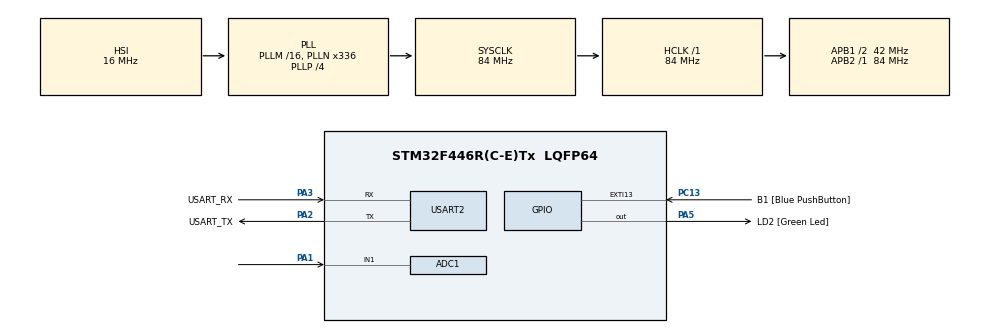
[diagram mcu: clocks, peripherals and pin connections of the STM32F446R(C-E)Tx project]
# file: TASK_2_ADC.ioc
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ADC1.Channel-0\#ChannelRegularConversion=ADC_CHANNEL_1
ADC1.NbrOfConversionFlag=1
ADC1.Rank-0\#ChannelRegularConversion=1
ADC1.SamplingTime-0\#ChannelRegularConversion=ADC_SAMPLETIME_3CYCLES
ADC1.master=1
Mcu.Family=STM32F4
Mcu.Name=STM32F446R(C-E)Tx
Mcu.Package=LQFP64
NVIC.PriorityGroup=NVIC_PRIORITYGROUP_0
PA1.Signal=ADCx_IN1
PA13.GPIO_Label=TMS
PA13.Mode=Serial_Wire
PA13.Signal=SYS_JTMS-SWDIO
PA14.GPIO_Label=TCK
PA14.Mode=Serial_Wire
PA14.Signal=SYS_JTCK-SWCLK
PA2.GPIO_Label=USART_TX
PA2.Mode=Asynchronous
PA2.Signal=USART2_TX
PA3.GPIO_Label=USART_RX
PA3.Mode=Asynchronous
PA3.Signal=USART2_RX
PA5.GPIO_Label=LD2 [Green Led]
PA5.Signal=GPIO_Output
PB3.GPIO_Label=SWO
PB3.Signal=SYS_JTDO-SWO
PC13.GPIO_Label=B1 [Blue PushButton]
PC13.GPIO_ModeDefaultEXTI=GPIO_MODE_IT_FALLING
PC13.Signal=GPXTI13
PC14-OSC32_IN.Mode=LSE-External-Oscillator
PC14-OSC32_IN.Signal=RCC_OSC32_IN
PC15-OSC32_OUT.Mode=LSE-External-Oscillator
PC15-OSC32_OUT.Signal=RCC_OSC32_OUT
PH0-OSC_IN.Mode=HSE-External-Oscillator
PH0-OSC_IN.Signal=RCC_OSC_IN
PH1-OSC_OUT.Mode=HSE-External-Oscillator
PH1-OSC_OUT.Signal=RCC_OSC_OUT
ProjectManager.HeapSize=0x200
ProjectManager.StackSize=0x400
ProjectManager.TargetToolchain=STM32CubeIDE
RCC.48MHZClocksFreq_Value=84000000
RCC.AHBFreq_Value=84000000
RCC.APB1CLKDivider=RCC_HCLK_DIV2
RCC.APB1Freq_Value=42000000
RCC.APB1TimFreq_Value=84000000
RCC.APB2Freq_Value=84000000
RCC.APB2TimFreq_Value=84000000
RCC.CortexFreq_Value=84000000
RCC.FLatency-AdvancedSettings=FLASH_LATENCY_2
RCC.HCLKFreq_Value=84000000
RCC.HSE_VALUE=8000000
RCC.HSI_VALUE=16000000
RCC.PLLN=336
RCC.PLLP=RCC_PLLP_DIV4
RCC.SYSCLKFreq_VALUE=84000000
RCC.SYSCLKSource=RCC_SYSCLKSOURCE_PLLCLK
RCC.USBFreq_Value=168000000
RCC.VCOOutputFreq_Value=336000000
SH.ADCx_IN1.0=ADC1_IN1,IN1
TIM2.Period=999
TIM2.Prescaler=8399
USART2.VirtualMode=VM_ASYNC
VP_TIM2_VS_ClockSourceINT.Mode=Internal
board=NUCLEO-F446RE

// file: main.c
/* USER CODE BEGIN Header */
/**
  ******************************************************************************
  * @file           : main.c
  * @brief          : ADC sampling @10 Hz (TIM2 tick), 10-sample moving average,
  *                   JSON streaming over USART2 @115200 baud
  ******************************************************************************
  * @attention
  *
  * Copyright (c) 2026 STMicroelectronics.
  * All rights reserved.
  *
  * This software is licensed under terms that can be found in the LICENSE file
  * in the root directory of this software component.
  * If no LICENSE file comes with this software, it is provided AS-IS.
  *
  ******************************************************************************
  */
/* USER CODE END Header */
#include "main.h"

/* USER CODE BEGIN Includes */
#include <string.h>
#include <stdio.h>
/* USER CODE END Includes */

/* USER CODE BEGIN PD */

/* Moving-average window size (number of samples). */
#define SAMPLE_COUNT          10U

/* Timeouts (ms). Finite values so a hung peripheral can never block forever. */
#define ADC_TIMEOUT_MS        10U
#define UART_TIMEOUT_MS       100U

/* TIM2 timing: timer clock = 84 MHz (APB1 = 42 MHz, x2 because APB1 prescaler
 * is /2). 84 MHz / (8399+1) = 10 kHz tick; 10 kHz / (999+1) = 10 Hz
 * -> one update event exactly every 100 ms. */
#define TIM2_PRESCALER        8399U
#define TIM2_PERIOD           999U

/* USER CODE END PD */

ADC_HandleTypeDef hadc1;

UART_HandleTypeDef huart2;

/* USER CODE BEGIN PV */

TIM_HandleTypeDef htim2;

/* Moving-average filter state */
static uint32_t adc_samples[SAMPLE_COUNT];  /* circular buffer of last N raw samples */
static uint32_t adc_sum         = 0U;       /* running sum of the samples in the buffer */
static uint8_t  sample_index    = 0U;       /* position of the oldest sample (next to overwrite) */
static uint8_t  samples_filled  = 0U;       /* how many valid samples are in the buffer (0..N) */
static uint32_t adc_average     = 0U;       /* latest filtered result */

/* Set by the TIM2 ISR every 100 ms, cleared by the main loop */
static volatile uint8_t sample_ready = 0U;

/* Diagnostics counters */
static volatile uint32_t missed_ticks = 0U; /* ticks that arrived before the previous one was handled */
static uint32_t adc_error_count       = 0U;
static uint32_t uart_error_count      = 0U;

/* USER CODE END PV */

void SystemClock_Config(void);
static void MX_GPIO_Init(void);
static void MX_ADC1_Init(void);
static void MX_USART2_UART_Init(void);
/* USER CODE BEGIN PFP */
static void MX_TIM2_Init(void);
static HAL_StatusTypeDef Read_ADC_And_Calculate_Average(void);
static void Send_Average_Over_UART(uint32_t average);
/* USER CODE END PFP */

int main(void)
{

  /* MCU Configuration--------------------------------------------------------*/

  /* Reset of all peripherals, Initializes the Flash interface and the Systick. */
  HAL_Init();

  /* Configure the system clock */
  SystemClock_Config();

  /* Initialize all configured peripherals */
  MX_GPIO_Init();
  MX_ADC1_Init();
  MX_USART2_UART_Init();
  /* USER CODE BEGIN 2 */
  MX_TIM2_Init();

  /* Start TIM2 in interrupt mode. From now on the update interrupt fires
   * exactly every 100 ms (10 Hz) and sets sample_ready. */
  if (HAL_TIM_Base_Start_IT(&htim2) != HAL_OK)
  {
    Error_Handler();
  }
  /* USER CODE END 2 */

  /* Infinite loop */
  while (1)
  {

    /* USER CODE BEGIN 3 */

    /* Sampling period is defined by the TIM2 hardware tick, NOT by software
     * delays, so conversion/printf/UART time does not cause drift. */
    if (sample_ready)
    {
      sample_ready = 0U;

      if (Read_ADC_And_Calculate_Average() == HAL_OK)
      {
        /* One transmission per 100 ms tick */
        Send_Average_Over_UART(adc_average);
      }
      else
      {
        /* ADC fault: count it and toggle LD2 as a visible indicator */
        adc_error_count++;
        HAL_GPIO_TogglePin(LD2_GPIO_Port, LD2_Pin);
      }
    }
  }
  /* USER CODE END 3 */
}

void SystemClock_Config(void)
{
  RCC_OscInitTypeDef RCC_OscInitStruct = {0};
  RCC_ClkInitTypeDef RCC_ClkInitStruct = {0};

  /** Configure the main internal regulator output voltage
  */
  __HAL_RCC_PWR_CLK_ENABLE();
  __HAL_PWR_VOLTAGESCALING_CONFIG(PWR_REGULATOR_VOLTAGE_SCALE3);

  /** Initializes the RCC Oscillators according to the specified parameters
  * in the RCC_OscInitTypeDef structure.
  */
  RCC_OscInitStruct.OscillatorType = RCC_OSCILLATORTYPE_HSI;
  RCC_OscInitStruct.HSIState = RCC_HSI_ON;
  RCC_OscInitStruct.HSICalibrationValue = RCC_HSICALIBRATION_DEFAULT;
  RCC_OscInitStruct.PLL.PLLState = RCC_PLL_ON;
  RCC_OscInitStruct.PLL.PLLSource = RCC_PLLSOURCE_HSI;
  RCC_OscInitStruct.PLL.PLLM = 16;
  RCC_OscInitStruct.PLL.PLLN = 336;
  RCC_OscInitStruct.PLL.PLLP = RCC_PLLP_DIV4;
  RCC_OscInitStruct.PLL.PLLQ = 2;
  RCC_OscInitStruct.PLL.PLLR = 2;
  if (HAL_RCC_OscConfig(&RCC_OscInitStruct) != HAL_OK)
  {
    Error_Handler();
  }

  /** Initializes the CPU, AHB and APB buses clocks
  */
  RCC_ClkInitStruct.ClockType = RCC_CLOCKTYPE_HCLK|RCC_CLOCKTYPE_SYSCLK
                              |RCC_CLOCKTYPE_PCLK1|RCC_CLOCKTYPE_PCLK2;
  RCC_ClkInitStruct.SYSCLKSource = RCC_SYSCLKSOURCE_PLLCLK;
  RCC_ClkInitStruct.AHBCLKDivider = RCC_SYSCLK_DIV1;
  RCC_ClkInitStruct.APB1CLKDivider = RCC_HCLK_DIV2;
  RCC_ClkInitStruct.APB2CLKDivider = RCC_HCLK_DIV1;

  if (HAL_RCC_ClockConfig(&RCC_ClkInitStruct, FLASH_LATENCY_2) != HAL_OK)
  {
    Error_Handler();
  }
}

static void MX_ADC1_Init(void)
{

  ADC_ChannelConfTypeDef sConfig = {0};

  /** Configure the global features of the ADC (Clock, Resolution, Data Alignment and number of conversion)
  */
  hadc1.Instance = ADC1;
  hadc1.Init.ClockPrescaler = ADC_CLOCK_SYNC_PCLK_DIV4;
  hadc1.Init.Resolution = ADC_RESOLUTION_12B;
  hadc1.Init.ScanConvMode = DISABLE;
  hadc1.Init.ContinuousConvMode = DISABLE;
  hadc1.Init.DiscontinuousConvMode = DISABLE;
  hadc1.Init.ExternalTrigConvEdge = ADC_EXTERNALTRIGCONVEDGE_NONE;
  hadc1.Init.ExternalTrigConv = ADC_SOFTWARE_START;
  hadc1.Init.DataAlign = ADC_DATAALIGN_RIGHT;
  hadc1.Init.NbrOfConversion = 1;
  hadc1.Init.DMAContinuousRequests = DISABLE;
  hadc1.Init.EOCSelection = ADC_EOC_SINGLE_CONV;
  if (HAL_ADC_Init(&hadc1) != HAL_OK)
  {
    Error_Handler();
  }

  /** Configure for the selected ADC regular channel its corresponding rank in the sequencer and its sample time.
  */
  sConfig.Channel = ADC_CHANNEL_1;
  sConfig.Rank = 1;
  sConfig.SamplingTime = ADC_SAMPLETIME_3CYCLES;
  if (HAL_ADC_ConfigChannel(&hadc1, &sConfig) != HAL_OK)
  {
    Error_Handler();
  }

}

static void MX_USART2_UART_Init(void)
{

  huart2.Instance = USART2;
  huart2.Init.BaudRate = 115200;
  huart2.Init.WordLength = UART_WORDLENGTH_8B;
  huart2.Init.StopBits = UART_STOPBITS_1;
  huart2.Init.Parity = UART_PARITY_NONE;
  huart2.Init.Mode = UART_MODE_TX_RX;
  huart2.Init.HwFlowCtl = UART_HWCONTROL_NONE;
  huart2.Init.OverSampling = UART_OVERSAMPLING_16;
  if (HAL_UART_Init(&huart2) != HAL_OK)
  {
    Error_Handler();
  }

}

static void MX_GPIO_Init(void)
{
  GPIO_InitTypeDef GPIO_InitStruct = {0};

  /* GPIO Ports Clock Enable */
  __HAL_RCC_GPIOC_CLK_ENABLE();
  __HAL_RCC_GPIOH_CLK_ENABLE();
  __HAL_RCC_GPIOA_CLK_ENABLE();
  __HAL_RCC_GPIOB_CLK_ENABLE();

  /*Configure GPIO pin Output Level */
  HAL_GPIO_WritePin(LD2_GPIO_Port, LD2_Pin, GPIO_PIN_RESET);

  /*Configure GPIO pin : B1_Pin */
  GPIO_InitStruct.Pin = B1_Pin;
  GPIO_InitStruct.Mode = GPIO_MODE_IT_FALLING;
  GPIO_InitStruct.Pull = GPIO_NOPULL;
  HAL_GPIO_Init(B1_GPIO_Port, &GPIO_InitStruct);

  /*Configure GPIO pin : LD2_Pin */
  GPIO_InitStruct.Pin = LD2_Pin;
  GPIO_InitStruct.Mode = GPIO_MODE_OUTPUT_PP;
  GPIO_InitStruct.Pull = GPIO_NOPULL;
  GPIO_InitStruct.Speed = GPIO_SPEED_FREQ_LOW;
  HAL_GPIO_Init(LD2_GPIO_Port, &GPIO_InitStruct);

}

/* USER CODE BEGIN 4 */

/**
  * @brief  Configure TIM2 as a 10 Hz (100 ms) periodic interrupt source.
  * @note   Written by hand so this file is self-contained. If you instead
  *         enable TIM2 in CubeMX (Prescaler 8399, Period 999, update
  *         interrupt + NVIC enabled), delete this function, the TIM2_IRQHandler
  *         below, and the htim2 definition, since CubeMX will generate them.
  */
static void MX_TIM2_Init(void)
{
  htim2.Instance               = TIM2;
  htim2.Init.Prescaler         = TIM2_PRESCALER;
  htim2.Init.CounterMode       = TIM_COUNTERMODE_UP;
  htim2.Init.Period            = TIM2_PERIOD;
  htim2.Init.ClockDivision     = TIM_CLOCKDIVISION_DIV1;
  htim2.Init.AutoReloadPreload = TIM_AUTORELOAD_PRELOAD_ENABLE;

  /* Enable the TIM2 peripheral clock and its interrupt line */
  __HAL_RCC_TIM2_CLK_ENABLE();
  HAL_NVIC_SetPriority(TIM2_IRQn, 1, 0);
  HAL_NVIC_EnableIRQ(TIM2_IRQn);

  if (HAL_TIM_Base_Init(&htim2) != HAL_OK)
  {
    Error_Handler();
  }
}

/**
  * @brief  TIM2 interrupt handler: forwards to the HAL, which then calls
  *         HAL_TIM_PeriodElapsedCallback().
  */
void TIM2_IRQHandler(void)
{
  HAL_TIM_IRQHandler(&htim2);
}

/**
  * @brief  Timer period-elapsed callback, executed every 100 ms by TIM2.
  * @note   Kept minimal: just raises a flag. All the slow work (ADC read,
  *         formatting, UART transmit) happens in the main loop.
  */
void HAL_TIM_PeriodElapsedCallback(TIM_HandleTypeDef *htim)
{
  if (htim->Instance == TIM2)
  {
    if (sample_ready)
    {
      /* Main loop didn't finish the previous sample in time */
      missed_ticks++;
    }
    sample_ready = 1U;
  }
}

/**
  * @brief  Take one ADC reading and update the 10-sample moving average.
  * @retval HAL_OK on success, HAL_ERROR / HAL_TIMEOUT on ADC failure
  *         (the filter state is left untouched on failure).
  *
  * Moving-average algorithm (circular buffer + running sum):
  *   - The buffer holds the last SAMPLE_COUNT raw readings.
  *   - sample_index points at the OLDEST reading.
  *   - On each new sample we subtract the oldest value from the running sum,
  *     overwrite it with the new value, add the new value to the sum, and
  *     advance the index (wrapping to 0). That is O(1) per sample instead of
  *     re-adding all 10 values every time.
  *   - average = sum / number_of_valid_samples.
  */
static HAL_StatusTypeDef Read_ADC_And_Calculate_Average(void)
{
  uint32_t raw;

  /* Start a single software-triggered conversion */
  if (HAL_ADC_Start(&hadc1) != HAL_OK)
  {
    return HAL_ERROR;
  }

  /* Wait for end of conversion with a finite timeout (never HAL_MAX_DELAY) */
  if (HAL_ADC_PollForConversion(&hadc1, ADC_TIMEOUT_MS) != HAL_OK)
  {
    (void)HAL_ADC_Stop(&hadc1);
    return HAL_TIMEOUT;
  }

  raw = HAL_ADC_GetValue(&hadc1);
  (void)HAL_ADC_Stop(&hadc1);

  /* --- Moving average update --- */
  adc_sum -= adc_samples[sample_index];    /* remove oldest sample from sum */
  adc_samples[sample_index] = raw;         /* store newest sample in its place */
  adc_sum += raw;                          /* add newest sample to sum */

  sample_index++;                          /* advance circular index */
  if (sample_index >= SAMPLE_COUNT)
  {
    sample_index = 0U;
  }

  /* During start-up the buffer is not full yet (it was zero-initialised).
   * Dividing by SAMPLE_COUNT would give an artificially low average, so we
   * divide by the number of real samples until the window is full. */
  if (samples_filled < SAMPLE_COUNT)
  {
    samples_filled++;
  }
  adc_average = adc_sum / samples_filled;

  return HAL_OK;
}

/**
  * @brief  Format the average as a JSON line and send it over USART2.
  *         Output example: {"adc_avg":2048}\r\n
  * @note   Called once per 100 ms tick. At 115200 baud the ~20-byte message
  *         takes ~2 ms, well within the 100 ms period.
  */
static void Send_Average_Over_UART(uint32_t average)
{
  char msg[48];

  int len = snprintf(msg, sizeof(msg),
                     "{\"adc_avg\":%lu}\r\n", (unsigned long)average);

  /* Reject formatting errors and truncated output */
  if ((len <= 0) || ((size_t)len >= sizeof(msg)))
  {
    uart_error_count++;
    return;
  }

  /* Only transmit if the UART is idle; otherwise skip and count the error */
  if (huart2.gState != HAL_UART_STATE_READY)
  {
    uart_error_count++;
    HAL_GPIO_TogglePin(LD2_GPIO_Port, LD2_Pin);
    return;
  }

  if (HAL_UART_Transmit(&huart2, (uint8_t *)msg, (uint16_t)len,
                        UART_TIMEOUT_MS) != HAL_OK)
  {
    uart_error_count++;
    HAL_GPIO_TogglePin(LD2_GPIO_Port, LD2_Pin);
  }
}

/* USER CODE END 4 */
void Error_Handler(void)
{
  __disable_irq();
  while (1)
  {
  }
}
